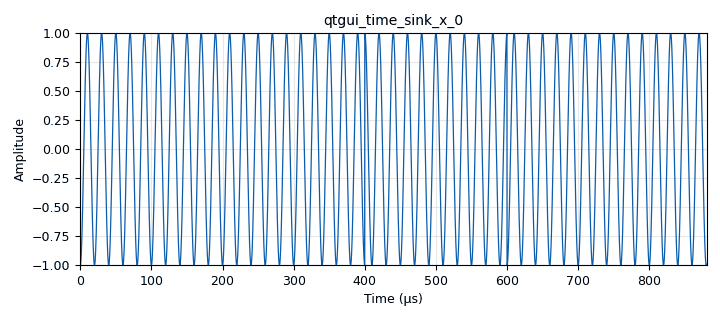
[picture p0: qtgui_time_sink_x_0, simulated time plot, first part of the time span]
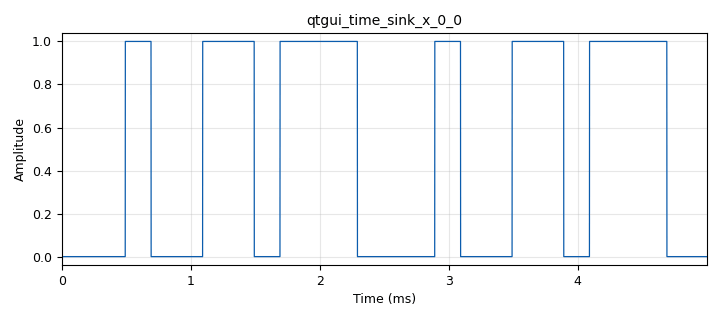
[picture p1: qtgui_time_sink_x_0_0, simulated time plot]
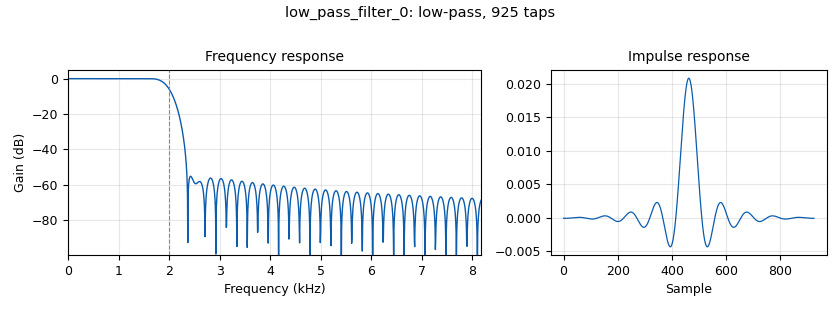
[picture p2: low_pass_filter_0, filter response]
options:
  parameters:
    author: Matias Gandino
    generate_options: qt_gui
    id: BPKS_Simulacion
    output_language: python
    title: BPKS_Simulacion
  states: {}

blocks:
- name: f_portadora
  id: variable
  parameters:
    value: '50000'
  states: {}
- name: n_p_time
  id: variable
  parameters:
    value: '25000'
  states: {}
- name: samp_rate
  id: variable
  parameters:
    value: f_portadora*100
  states: {}
- name: analog_sig_source_x_0
  id: analog_sig_source_x
  parameters:
    amp: '1'
    freq: f_portadora
    offset: '0'
    phase: '0'
    samp_rate: samp_rate
    type: float
    waveform: analog.GR_COS_WAVE
  states: {}
- name: blocks_add_const_vxx_0
  id: blocks_add_const_vxx
  parameters:
    const: '-1'
    type: float
  states: {}
- name: blocks_add_xx_0
  id: blocks_add_xx
  parameters:
    type: float
  states: {}
- name: blocks_char_to_float_0
  id: blocks_char_to_float
  parameters:
    scale: '1'
  states: {}
- name: blocks_multiply_xx_0
  id: blocks_multiply_xx
  parameters:
    type: float
  states: {}
- name: blocks_multiply_xx_0_0
  id: blocks_multiply_xx
  parameters:
    type: float
  states: {}
- name: blocks_multiply_xx_0_0_0
  id: blocks_multiply_xx
  parameters:
    type: float
  states: {}
- name: blocks_repeat_0
  id: blocks_repeat
  parameters:
    interp: '1000'
    type: float
  states: {}
- name: blocks_vector_source_x_0
  id: blocks_vector_source_x
  parameters:
    repeat: 'True'
    tags: ''
    type: float
    vector: (1, 1, 0, 1, 1, 1, 0, 0, 0, 1, 0, 0)
  states: {}
- name: digital_binary_slicer_fb_0
  id: digital_binary_slicer_fb
  parameters: {}
  states: {}
- name: low_pass_filter_0
  id: low_pass_filter
  parameters:
    cutoff_freq: '2000'
    decim: '1'
    gain: '1'
    samp_rate: '192000'
    type: fir_filter_fff
    width: '500'
    win: window.WIN_HAMMING
  states: {}
- name: note_0
  id: note
  parameters:
    note: MODULACION
  states: {}
- name: note_0_0
  id: note
  parameters:
    note: DEMODULACION
  states: {}
- name: qtgui_time_sink_x_0
  id: qtgui_time_sink_x
  parameters:
    size: n_p_time
    srate: samp_rate
    type: float
  states: {}
- name: qtgui_time_sink_x_0_0
  id: qtgui_time_sink_x
  parameters:
    size: n_p_time
    srate: samp_rate
    type: float
    ymin: '0'
  states: {}
- name: virtual_sink_0
  id: virtual_sink
  parameters:
    stream_id: Signal_BPSK
  states: {}
- name: virtual_sink_0_0
  id: virtual_sink
  parameters:
    stream_id: Portadora
  states: {}
- name: virtual_source_0
  id: virtual_source
  parameters:
    stream_id: Signal_BPSK
  states: {}
- name: virtual_source_0_0
  id: virtual_source
  parameters:
    stream_id: Portadora
  states: {}
- name: virtual_source_0_0_0
  id: virtual_source
  parameters:
    stream_id: Portadora
  states: {}
- name: virtual_source_0_1
  id: virtual_source
  parameters:
    stream_id: Portadora
  states: {}

connections:
- [analog_sig_source_x_0, '0', virtual_sink_0_0, '0']
- [blocks_add_const_vxx_0, '0', blocks_multiply_xx_0_0, '0']
- [blocks_add_xx_0, '0', qtgui_time_sink_x_0, '0']
- [blocks_add_xx_0, '0', virtual_sink_0, '0']
- [blocks_char_to_float_0, '0', qtgui_time_sink_x_0_0, '0']
- [blocks_multiply_xx_0, '0', blocks_add_xx_0, '0']
- [blocks_multiply_xx_0_0, '0', blocks_add_xx_0, '1']
- [blocks_multiply_xx_0_0_0, '0', low_pass_filter_0, '0']
- [blocks_repeat_0, '0', blocks_add_const_vxx_0, '0']
- [blocks_repeat_0, '0', blocks_multiply_xx_0, '1']
- [blocks_vector_source_x_0, '0', blocks_repeat_0, '0']
- [digital_binary_slicer_fb_0, '0', blocks_char_to_float_0, '0']
- [low_pass_filter_0, '0', digital_binary_slicer_fb_0, '0']
- [virtual_source_0, '0', blocks_multiply_xx_0_0_0, '0']
- [virtual_source_0_0, '0', blocks_multiply_xx_0, '0']
- [virtual_source_0_0_0, '0', blocks_multiply_xx_0_0_0, '1']
- [virtual_source_0_1, '0', blocks_multiply_xx_0_0, '1']

metadata:
  file_format: 1
  grc_version: 3.10.12.0
